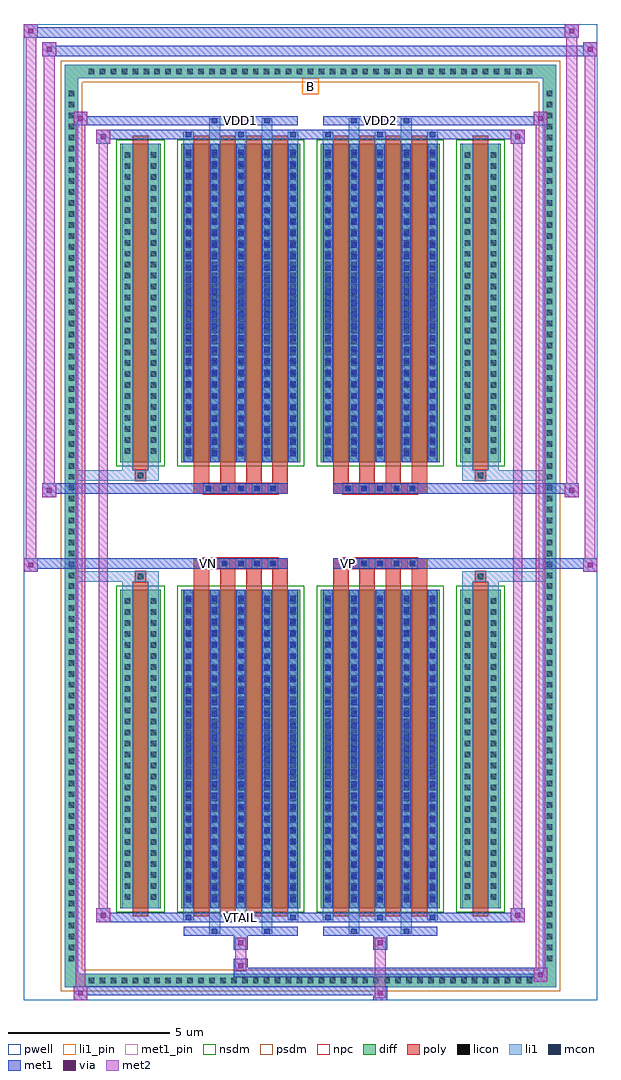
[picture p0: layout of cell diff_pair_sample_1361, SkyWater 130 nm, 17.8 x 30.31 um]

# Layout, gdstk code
import gdstk
lib = gdstk.Library(unit=1e-6, precision=5e-09)
def R(c, l, rs):  # rectangles x0, y0, x1, y1
    for r in rs: c.add(gdstk.rectangle(r[:2], r[2:], *l))
def A(c, l, x, y, w, h, nx, ny, dx, dy):  # array of equal rectangles
    R(c, l, [(x+i*dx, y+j*dy, x+i*dx+w, y+j*dy+h) for i in range(nx) for j in range(ny)])
def P(c, l, *ps):  # polygons
    for p in ps: c.add(gdstk.Polygon(p, *l))
pwell = (64, 44)
diff = (65, 20)
poly = (66, 20)
licon = (66, 44)
li1_pin = (67, 16)
li1 = (67, 20)
mcon = (67, 44)
met1_pin = (68, 16)
met1 = (68, 20)
via = (68, 44)
met2 = (69, 20)
nsdm = (93, 44)
psdm = (94, 20)
npc = (95, 20)

diff_pair_sample_1361 = lib.new_cell('diff_pair_sample_1361')
R(diff_pair_sample_1361, pwell, [(-8.9,-14.72,8.9,15.59), (-6.22,-12.91,-0.01,-0.795), (0.01,-12.91,6.22,-0.795), (-6.22,0.795,-0.01,12.91), (0.01,0.795,6.22,12.91)])
A(diff_pair_sample_1361, diff, -7.005, -14.32, 0.41, 0.41, 41, 2, 0.34, 28.23)
A(diff_pair_sample_1361, diff, -7.63, -13.635, 0.41, 0.41, 1, 80, 0, 0.34)
A(diff_pair_sample_1361, diff, 7.22, -13.635, 0.41, 0.41, 1, 80, 0, 0.34)
R(diff_pair_sample_1361, diff, [(-7.005,-14.32,7.005,-13.91), (-7.63,-13.635,-7.22,13.635), (7.22,-13.635,7.63,13.635), (-5.91,-11.865,-4.65,-1.985), (-4.01,-11.865,-0.32,-1.985), (0.32,-11.865,4.01,-1.985), (4.65,-11.865,5.91,-1.985), (-5.91,1.985,-4.65,11.865), (-4.01,1.985,-0.32,11.865), (0.32,1.985,4.01,11.865), (4.65,1.985,5.91,11.865), (-7.005,13.91,7.005,14.32)])
P(diff_pair_sample_1361, diff, [(7.63,14.32),(-7.63,14.32),(-7.63,-13.91),(-7.22,-13.91),(-7.22,13.91),(7.22,13.91),(7.22,-13.91),(-7.22,-13.91),(-7.63,-13.91),(-7.63,-14.32),(7.63,-14.32)])
A(diff_pair_sample_1361, poly, -3.62, -12.115, 0.48, 10.38, 4, 2, 0.81, 13.85)
A(diff_pair_sample_1361, poly, 0.71, -12.115, 0.48, 10.38, 4, 2, 0.81, 13.85)
A(diff_pair_sample_1361, poly, -3.62, -1.735, 0.48, 0.41, 4, 2, 0.81, 3.06)
A(diff_pair_sample_1361, poly, 0.71, -1.735, 0.48, 0.41, 4, 2, 0.81, 3.06)
A(diff_pair_sample_1361, poly, -3.33, -1.325, 0.33, 0.33, 5, 2, 0.5, 2.32)
A(diff_pair_sample_1361, poly, 1, -1.325, 0.33, 0.33, 5, 2, 0.5, 2.32)
R(diff_pair_sample_1361, poly, [(-5.52,-12.115,-5.04,-1.735), (5.04,-12.115,5.52,-1.735), (-5.445,-1.735,-5.115,-1.405), (-5.445,-1.735,-5.115,-1.405), (5.115,-1.735,5.445,-1.405), (5.115,-1.735,5.445,-1.405), (-3.62,-1.325,-0.71,-0.995), (0.71,-1.325,3.62,-0.995), (-3.62,0.995,-0.71,1.325), (0.71,0.995,3.62,1.325), (-5.445,1.405,-5.115,1.735), (-5.445,1.405,-5.115,1.735), (5.115,1.405,5.445,1.735), (5.115,1.405,5.445,1.735), (-5.52,1.735,-5.04,12.115), (5.04,1.735,5.52,12.115)])
A(diff_pair_sample_1361, licon, -6.885, -14.2, 0.17, 0.17, 41, 2, 0.34, 28.23)
A(diff_pair_sample_1361, licon, -7.51, -13.515, 0.17, 0.17, 1, 80, 0, 0.34)
A(diff_pair_sample_1361, licon, 7.34, -13.515, 0.17, 0.17, 1, 80, 0, 0.34)
A(diff_pair_sample_1361, licon, -5.77, -11.6, 0.17, 0.17, 1, 28, 0, 0.34)
A(diff_pair_sample_1361, licon, -4.96, -11.6, 0.17, 0.17, 1, 28, 0, 0.34)
A(diff_pair_sample_1361, licon, -3.87, -11.6, 0.17, 0.17, 5, 28, 0.81, 0.34)
A(diff_pair_sample_1361, licon, 0.46, -11.6, 0.17, 0.17, 5, 28, 0.81, 0.34)
A(diff_pair_sample_1361, licon, 4.79, -11.6, 0.17, 0.17, 1, 28, 0, 0.34)
A(diff_pair_sample_1361, licon, 5.6, -11.6, 0.17, 0.17, 1, 28, 0, 0.34)
A(diff_pair_sample_1361, licon, -3.25, -1.245, 0.17, 0.17, 5, 2, 0.5, 2.32)
A(diff_pair_sample_1361, licon, 1.08, -1.245, 0.17, 0.17, 5, 2, 0.5, 2.32)
A(diff_pair_sample_1361, licon, -5.77, 2.25, 0.17, 0.17, 1, 28, 0, 0.34)
A(diff_pair_sample_1361, licon, -4.96, 2.25, 0.17, 0.17, 1, 28, 0, 0.34)
A(diff_pair_sample_1361, licon, -3.87, 2.25, 0.17, 0.17, 5, 28, 0.81, 0.34)
A(diff_pair_sample_1361, licon, 0.46, 2.25, 0.17, 0.17, 5, 28, 0.81, 0.34)
A(diff_pair_sample_1361, licon, 4.79, 2.25, 0.17, 0.17, 1, 28, 0, 0.34)
A(diff_pair_sample_1361, licon, 5.6, 2.25, 0.17, 0.17, 1, 28, 0, 0.34)
R(diff_pair_sample_1361, licon, [(-5.365,-1.655,-5.195,-1.485), (5.195,-1.655,5.365,-1.485), (-5.365,1.485,-5.195,1.655), (5.195,1.485,5.365,1.655)])
R(diff_pair_sample_1361, li1_pin, [(-0.25,13.41,0.25,13.91)])
A(diff_pair_sample_1361, li1, -6.965, -14.28, 0.33, 0.33, 41, 2, 0.34, 28.23)
A(diff_pair_sample_1361, li1, -7.59, -13.595, 0.33, 0.33, 1, 80, 0, 0.34)
A(diff_pair_sample_1361, li1, 7.26, -13.595, 0.33, 0.33, 1, 80, 0, 0.34)
A(diff_pair_sample_1361, li1, -3.95, -12.24, 0.33, 0.375, 3, 2, 1.62, 24.105)
A(diff_pair_sample_1361, li1, -3.87, -12.24, 0.17, 0.17, 3, 2, 1.62, 24.31)
A(diff_pair_sample_1361, li1, 0.38, -12.24, 0.33, 0.375, 3, 2, 1.62, 24.105)
A(diff_pair_sample_1361, li1, 0.46, -12.24, 0.17, 0.17, 3, 2, 1.62, 24.31)
A(diff_pair_sample_1361, li1, -3.95, -11.865, 0.33, 9.88, 5, 2, 0.81, 13.85)
A(diff_pair_sample_1361, li1, 0.38, -11.865, 0.33, 9.88, 5, 2, 0.81, 13.85)
A(diff_pair_sample_1361, li1, -3.87, -11.69, 0.17, 0.17, 5, 27, 0.81, 0.36)
A(diff_pair_sample_1361, li1, -3.87, -11.69, 0.17, 9.53, 5, 2, 0.81, 13.85)
A(diff_pair_sample_1361, li1, 0.46, -11.69, 0.17, 0.17, 5, 27, 0.81, 0.36)
A(diff_pair_sample_1361, li1, 0.46, -11.69, 0.17, 9.53, 5, 2, 0.81, 13.85)
A(diff_pair_sample_1361, li1, -5.85, -11.68, 0.33, 0.33, 1, 28, 0, 0.34)
A(diff_pair_sample_1361, li1, -5.04, -11.68, 0.33, 0.33, 1, 28, 0, 0.34)
A(diff_pair_sample_1361, li1, -3.95, -11.68, 0.33, 0.33, 5, 28, 0.81, 0.34)
A(diff_pair_sample_1361, li1, 0.38, -11.68, 0.33, 0.33, 5, 28, 0.81, 0.34)
A(diff_pair_sample_1361, li1, 4.71, -11.68, 0.33, 0.33, 1, 28, 0, 0.34)
A(diff_pair_sample_1361, li1, 5.52, -11.68, 0.33, 0.33, 1, 28, 0, 0.34)
A(diff_pair_sample_1361, li1, -3.33, -1.325, 0.33, 0.33, 5, 2, 0.5, 2.32)
A(diff_pair_sample_1361, li1, 1, -1.325, 0.33, 0.33, 5, 2, 0.5, 2.32)
A(diff_pair_sample_1361, li1, -3.87, 2.16, 0.17, 0.17, 5, 27, 0.81, 0.36)
A(diff_pair_sample_1361, li1, 0.46, 2.16, 0.17, 0.17, 5, 27, 0.81, 0.36)
A(diff_pair_sample_1361, li1, -5.85, 2.17, 0.33, 0.33, 1, 28, 0, 0.34)
A(diff_pair_sample_1361, li1, -5.04, 2.17, 0.33, 0.33, 1, 28, 0, 0.34)
A(diff_pair_sample_1361, li1, -3.95, 2.17, 0.33, 0.33, 5, 28, 0.81, 0.34)
A(diff_pair_sample_1361, li1, 0.38, 2.17, 0.33, 0.33, 5, 28, 0.81, 0.34)
A(diff_pair_sample_1361, li1, 4.71, 2.17, 0.33, 0.33, 1, 28, 0, 0.34)
A(diff_pair_sample_1361, li1, 5.52, 2.17, 0.33, 0.33, 1, 28, 0, 0.34)
R(diff_pair_sample_1361, li1, [(-7.63,-14.32,-7.22,-13.91), (-7.63,-14.32,-7.22,-13.91), (-7.22,-14.32,7.22,-13.91), (7.22,-14.32,7.63,-13.91), (7.22,-14.32,7.63,-13.91), (-7.63,-13.91,-7.22,13.91), (7.22,-13.91,7.63,13.91), (-3.14,-12.67,-2.81,-11.865), (-3.06,-12.67,-2.89,-12.5), (-1.52,-12.67,-1.19,-11.865), (-1.44,-12.67,-1.27,-12.5), (1.19,-12.67,1.52,-11.865), (1.27,-12.67,1.44,-12.5), (2.81,-12.67,3.14,-11.865), (2.89,-12.67,3.06,-12.5), (-5.85,-11.865,-5.52,-1.985), (-5.04,-11.865,-4.71,-1.985), (4.71,-11.865,5.04,-1.985), (5.52,-11.865,5.85,-1.985), (-5.85,-1.985,-5.52,-1.405), (-5.04,-1.985,-4.71,-1.405), (4.71,-1.985,5.04,-1.405), (5.52,-1.985,5.85,-1.405), (-7.63,-1.735,-5.445,-1.405), (-5.85,-1.735,-5.445,-1.405), (-5.445,-1.735,-5.115,-1.405), (-5.115,-1.735,-4.71,-1.405), (4.71,-1.735,5.115,-1.405), (5.115,-1.735,5.445,-1.405), (5.115,-1.735,7.63,-1.405), (5.445,-1.735,5.85,-1.405), (-7.63,1.405,-5.445,1.735), (-5.85,1.405,-5.445,1.735), (-5.85,1.405,-5.52,1.985), (-5.445,1.405,-5.115,1.735), (-5.115,1.405,-4.71,1.735), (-5.04,1.405,-4.71,1.985), (4.71,1.405,5.115,1.735), (4.71,1.405,5.04,1.985), (5.115,1.405,5.445,1.735), (5.115,1.405,7.63,1.735), (5.445,1.405,5.85,1.735), (5.52,1.405,5.85,1.985), (-5.85,1.985,-5.52,11.865), (-5.04,1.985,-4.71,11.865), (4.71,1.985,5.04,11.865), (5.52,1.985,5.85,11.865), (-3.14,11.865,-2.81,12.67), (-1.52,11.865,-1.19,12.67), (1.19,11.865,1.52,12.67), (2.81,11.865,3.14,12.67), (-3.06,12.5,-2.89,12.67), (-1.44,12.5,-1.27,12.67), (1.27,12.5,1.44,12.67), (2.89,12.5,3.06,12.67), (-7.63,13.91,-7.22,14.32), (-7.63,13.91,-7.22,14.32), (-7.22,13.91,7.22,14.32), (7.22,13.91,7.63,14.32), (7.22,13.91,7.63,14.32)])
A(diff_pair_sample_1361, mcon, -3.87, -12.24, 0.17, 0.17, 3, 2, 1.62, 24.31)
A(diff_pair_sample_1361, mcon, 0.46, -12.24, 0.17, 0.17, 3, 2, 1.62, 24.31)
A(diff_pair_sample_1361, mcon, -3.87, -11.69, 0.17, 0.17, 5, 27, 0.81, 0.36)
A(diff_pair_sample_1361, mcon, 0.46, -11.69, 0.17, 0.17, 5, 27, 0.81, 0.36)
A(diff_pair_sample_1361, mcon, -3.25, -1.245, 0.17, 0.17, 5, 2, 0.5, 2.32)
A(diff_pair_sample_1361, mcon, 1.08, -1.245, 0.17, 0.17, 5, 2, 0.5, 2.32)
A(diff_pair_sample_1361, mcon, -3.87, 2.16, 0.17, 0.17, 5, 27, 0.81, 0.36)
A(diff_pair_sample_1361, mcon, 0.46, 2.16, 0.17, 0.17, 5, 27, 0.81, 0.36)
R(diff_pair_sample_1361, mcon, [(-3.06,-12.67,-2.89,-12.5), (-1.44,-12.67,-1.27,-12.5), (1.27,-12.67,1.44,-12.5), (2.89,-12.67,3.06,-12.5), (-3.06,12.5,-2.89,12.67), (-1.44,12.5,-1.27,12.67), (1.27,12.5,1.44,12.67), (2.89,12.5,3.06,12.67)])
R(diff_pair_sample_1361, met1_pin, [(-2.3,-12.28,-2.03,-12.01), (-3.3,-1.285,-3.03,-1.015), (1.03,-1.285,1.3,-1.015), (-2.3,12.46,-2.03,12.73), (2.03,12.46,2.3,12.73)])
A(diff_pair_sample_1361, met1, -3.93, -12.3, 0.29, 0.29, 3, 2, 1.62, 24.31)
A(diff_pair_sample_1361, met1, 0.4, -12.3, 0.29, 0.29, 3, 2, 1.62, 24.31)
A(diff_pair_sample_1361, met1, -3.93, -11.865, 0.29, 9.88, 5, 2, 0.81, 13.85)
A(diff_pair_sample_1361, met1, 0.4, -11.865, 0.29, 9.88, 5, 2, 0.81, 13.85)
A(diff_pair_sample_1361, met1, -3.93, -11.75, 0.29, 0.29, 5, 27, 0.81, 0.36)
A(diff_pair_sample_1361, met1, 0.4, -11.75, 0.29, 0.29, 5, 27, 0.81, 0.36)
A(diff_pair_sample_1361, met1, -3.31, -1.305, 0.29, 0.29, 5, 2, 0.5, 2.32)
A(diff_pair_sample_1361, met1, 1.02, -1.305, 0.29, 0.29, 5, 2, 0.5, 2.32)
A(diff_pair_sample_1361, met1, -3.93, 2.1, 0.29, 0.29, 5, 27, 0.81, 0.36)
A(diff_pair_sample_1361, met1, 0.4, 2.1, 0.29, 0.29, 5, 27, 0.81, 0.36)
R(diff_pair_sample_1361, met1, [(-7.36,-14.72,-6.93,-14.29), (1.95,-14.72,2.38,-14.29), (-7.36,-14.58,2.38,-14.29), (6.93,-14.15,7.36,-13.72), (-2.38,-14.01,7.36,-13.72), (-2.38,-13.87,-1.95,-13.44), (-2.38,-13.16,-1.95,-12.73), (1.95,-13.16,2.38,-12.73), (-3.93,-12.73,-0.4,-12.44), (-3.12,-12.73,-2.83,-12.44), (-1.5,-12.73,-1.21,-12.44), (0.4,-12.73,3.93,-12.44), (1.21,-12.73,1.5,-12.44), (2.83,-12.73,3.12,-12.44), (-6.65,-12.3,-6.22,-11.87), (-6.65,-12.3,-3.93,-12.01), (-3.93,-12.3,-0.4,-12.01), (-0.4,-12.3,0.4,-12.01), (0.4,-12.3,3.93,-12.01), (3.93,-12.3,6.65,-12.01), (6.22,-12.3,6.65,-11.87), (-8.9,-1.425,-8.47,-0.995), (8.47,-1.425,8.9,-0.995), (-8.9,-1.325,-0.71,-0.995), (-3.62,-1.325,-0.71,-0.995), (0.71,-1.325,3.62,-0.995), (0.71,-1.325,8.9,-0.995), (-8.33,0.895,-7.9,1.325), (7.9,0.895,8.33,1.325), (-8.33,0.995,-3.62,1.325), (-3.62,0.995,-0.71,1.325), (0.71,0.995,3.62,1.325), (3.62,0.995,8.33,1.325), (-6.65,11.87,-6.22,12.3), (6.22,11.87,6.65,12.3), (-6.65,12.01,-3.93,12.3), (-3.93,12.01,-0.4,12.3), (-0.4,12.01,0.4,12.3), (0.4,12.01,3.93,12.3), (3.93,12.01,6.65,12.3), (-7.36,12.44,-6.93,12.87), (-7.36,12.44,-3.93,12.73), (-3.93,12.44,-0.4,12.73), (-3.12,12.44,-2.83,12.73), (-1.5,12.44,-1.21,12.73), (0.4,12.44,3.93,12.73), (1.21,12.44,1.5,12.73), (2.83,12.44,3.12,12.73), (3.93,12.44,7.36,12.73), (6.93,12.44,7.36,12.87), (-8.33,14.59,-7.9,15.02), (-8.33,14.59,-6.22,14.92), (-6.22,14.59,6.22,14.92), (6.22,14.59,8.9,14.92), (8.47,14.59,8.9,15.02), (-8.9,15.16,-8.47,15.59), (-8.9,15.16,-6.22,15.49), (-6.22,15.16,6.22,15.49), (6.22,15.16,8.33,15.49), (7.9,15.16,8.33,15.59)])
R(diff_pair_sample_1361, via, [(-7.22,-14.58,-7.07,-14.43), (2.09,-14.58,2.24,-14.43), (7.07,-14.01,7.22,-13.86), (-2.24,-13.73,-2.09,-13.58), (-2.24,-13.02,-2.09,-12.87), (2.09,-13.02,2.24,-12.87), (-6.51,-12.16,-6.36,-12.01), (6.36,-12.16,6.51,-12.01), (-8.76,-1.285,-8.61,-1.135), (8.61,-1.285,8.76,-1.135), (-8.19,1.035,-8.04,1.185), (8.04,1.035,8.19,1.185), (-6.51,12.01,-6.36,12.16), (6.36,12.01,6.51,12.16), (-7.22,12.58,-7.07,12.73), (7.07,12.58,7.22,12.73), (-8.19,14.73,-8.04,14.88), (8.61,14.73,8.76,14.88), (-8.76,15.3,-8.61,15.45), (8.04,15.3,8.19,15.45)])
R(diff_pair_sample_1361, met2, [(-7.36,-14.72,-6.93,-14.29), (-7.29,-14.72,-7,12.87), (-7,-14.72,-6.93,-14.29), (-7.31,-14.67,-6.98,-14.34), (2,-14.67,2.33,-14.34), (2,-14.34,2.33,-13.11), (6.93,-14.15,7.36,-13.72), (7,-14.15,7.29,12.87), (7.29,-14.15,7.36,-13.72), (6.98,-14.1,7.31,-13.77), (-2.33,-13.82,-2,-13.49), (-2.33,-13.49,-2,-13.11), (-2.33,-13.11,-2,-12.78), (2,-13.11,2.33,-12.78), (-6.65,-12.3,-6.22,-11.87), (-6.58,-12.3,-6.29,12.3), (-6.29,-12.3,-6.22,-11.87), (6.22,-12.3,6.65,-11.87), (6.29,-12.3,6.58,12.3), (6.58,-12.3,6.65,-11.87), (-6.6,-12.25,-6.27,-11.92), (6.27,-12.25,6.6,-11.92), (-8.9,-1.425,-8.47,-0.995), (-8.85,-1.425,-8.52,15.59), (-8.52,-1.425,-8.47,-0.995), (8.47,-1.425,8.9,-0.995), (8.52,-1.425,8.85,15.02), (8.85,-1.425,8.9,-0.995), (-8.85,-1.375,-8.52,-1.045), (8.52,-1.375,8.85,-1.045), (-8.33,0.895,-7.9,1.325), (-8.28,0.895,-7.95,15.02), (-7.95,0.895,-7.9,1.325), (7.9,0.895,8.33,1.325), (7.95,0.895,8.28,15.59), (8.28,0.895,8.33,1.325), (-8.28,0.945,-7.95,1.275), (7.95,0.945,8.28,1.275), (-6.65,11.87,-6.22,12.3), (-6.29,11.87,-6.22,12.3), (6.22,11.87,6.65,12.3), (6.58,11.87,6.65,12.3), (-6.6,11.92,-6.27,12.25), (6.27,11.92,6.6,12.25), (-7.36,12.44,-6.93,12.87), (-7,12.44,-6.93,12.87), (6.93,12.44,7.36,12.87), (7.29,12.44,7.36,12.87), (-7.31,12.49,-6.98,12.82), (6.98,12.49,7.31,12.82), (-8.33,14.59,-7.9,15.02), (-7.95,14.59,-7.9,15.02), (8.47,14.59,8.9,15.02), (8.85,14.59,8.9,15.02), (-8.28,14.64,-7.95,14.97), (8.52,14.64,8.85,14.97), (-8.9,15.16,-8.47,15.59), (-8.52,15.16,-8.47,15.59), (7.9,15.16,8.33,15.59), (8.28,15.16,8.33,15.59), (-8.85,15.21,-8.52,15.54), (7.95,15.21,8.28,15.54)])
R(diff_pair_sample_1361, nsdm, [(-6.04,-11.995,-4.52,-1.855), (-4.14,-11.995,-0.19,-1.855), (0.19,-11.995,4.14,-1.855), (4.52,-11.995,6.04,-1.855), (-6.04,1.855,-4.52,11.995), (-4.14,1.855,-0.19,11.995), (0.19,1.855,4.14,11.995), (4.52,1.855,6.04,11.995)])
P(diff_pair_sample_1361, psdm, [(7.76,14.45),(-7.76,14.45),(-7.76,-13.78),(-7.09,-13.78),(-7.09,13.78),(7.09,13.78),(7.09,-13.78),(-7.09,-13.78),(-7.76,-13.78),(-7.76,-14.45),(7.76,-14.45)])
A(diff_pair_sample_1361, npc, -3.35, -1.345, 0.37, 0.37, 5, 2, 0.5, 2.32)
A(diff_pair_sample_1361, npc, 0.98, -1.345, 0.37, 0.37, 5, 2, 0.5, 2.32)
R(diff_pair_sample_1361, npc, [(-5.465,-1.755,-5.095,-1.385), (5.095,-1.755,5.465,-1.385), (-3.35,-1.345,-2.48,-0.975), (-3.35,-1.345,-2.48,-0.975), (-2.85,-1.345,-1.98,-0.975), (-2.85,-1.345,-1.98,-0.975), (-2.35,-1.345,-1.48,-0.975), (-2.35,-1.345,-1.48,-0.975), (-1.85,-1.345,-0.98,-0.975), (-1.85,-1.345,-0.98,-0.975), (0.98,-1.345,1.85,-0.975), (0.98,-1.345,1.85,-0.975), (1.48,-1.345,2.35,-0.975), (1.48,-1.345,2.35,-0.975), (1.98,-1.345,2.85,-0.975), (1.98,-1.345,2.85,-0.975), (2.48,-1.345,3.35,-0.975), (2.48,-1.345,3.35,-0.975), (-3.35,0.975,-2.48,1.345), (-3.35,0.975,-2.48,1.345), (-2.85,0.975,-1.98,1.345), (-2.85,0.975,-1.98,1.345), (-2.35,0.975,-1.48,1.345), (-2.35,0.975,-1.48,1.345), (-1.85,0.975,-0.98,1.345), (-1.85,0.975,-0.98,1.345), (0.98,0.975,1.85,1.345), (0.98,0.975,1.85,1.345), (1.48,0.975,2.35,1.345), (1.48,0.975,2.35,1.345), (1.98,0.975,2.85,1.345), (1.98,0.975,2.85,1.345), (2.48,0.975,3.35,1.345), (2.48,0.975,3.35,1.345), (-5.465,1.385,-5.095,1.755), (5.095,1.385,5.465,1.755)])
diff_pair_sample_1361.add(gdstk.Label('VTAIL', (-2.165,-12.145), layer=68, texttype=5))
diff_pair_sample_1361.add(gdstk.Label('VN', (-3.165,-1.15), layer=68, texttype=5))
diff_pair_sample_1361.add(gdstk.Label('VP', (1.165,-1.15), layer=68, texttype=5))
diff_pair_sample_1361.add(gdstk.Label('B', (0,13.66), layer=67, texttype=5))
diff_pair_sample_1361.add(gdstk.Label('VDD2', (2.165,12.595), layer=68, texttype=5))
diff_pair_sample_1361.add(gdstk.Label('VDD1', (-2.165,12.595), layer=68, texttype=5))

lib.write_gds('diff_pair_sample_1361.gds')
